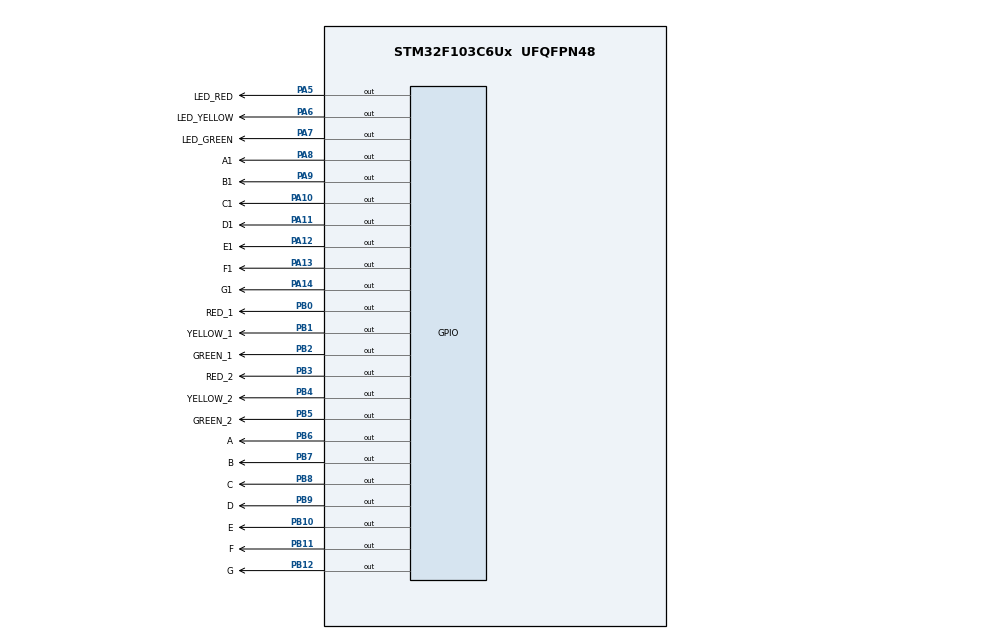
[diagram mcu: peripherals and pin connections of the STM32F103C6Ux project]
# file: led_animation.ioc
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Mcu.Family=STM32F1
Mcu.Name=STM32F103C6Ux
Mcu.Package=UFQFPN48
NVIC.PriorityGroup=NVIC_PRIORITYGROUP_4
PA10.GPIO_Label=C1
PA10.Signal=GPIO_Output
PA11.GPIO_Label=D1
PA11.Signal=GPIO_Output
PA12.GPIO_Label=E1
PA12.Signal=GPIO_Output
PA13.GPIO_Label=F1
PA13.Signal=GPIO_Output
PA14.GPIO_Label=G1
PA14.Signal=GPIO_Output
PA5.GPIO_Label=LED_RED
PA5.Signal=GPIO_Output
PA6.GPIO_Label=LED_YELLOW
PA6.Signal=GPIO_Output
PA7.GPIO_Label=LED_GREEN
PA7.Signal=GPIO_Output
PA8.GPIO_Label=A1
PA8.Signal=GPIO_Output
PA9.GPIO_Label=B1
PA9.Signal=GPIO_Output
PB0.GPIO_Label=RED_1
PB0.Signal=GPIO_Output
PB1.GPIO_Label=YELLOW_1
PB1.Signal=GPIO_Output
PB10.GPIO_Label=E
PB10.Signal=GPIO_Output
PB11.GPIO_Label=F
PB11.Signal=GPIO_Output
PB12.GPIO_Label=G
PB12.Signal=GPIO_Output
PB2.GPIO_Label=GREEN_1
PB2.Signal=GPIO_Output
PB3.GPIO_Label=RED_2
PB3.Signal=GPIO_Output
PB4.GPIO_Label=YELLOW_2
PB4.Signal=GPIO_Output
PB5.GPIO_Label=GREEN_2
PB5.Signal=GPIO_Output
PB6.GPIO_Label=A
PB6.Signal=GPIO_Output
PB7.GPIO_Label=B
PB7.Signal=GPIO_Output
PB8.GPIO_Label=C
PB8.Signal=GPIO_Output
PB9.GPIO_Label=D
PB9.Signal=GPIO_Output
ProjectManager.HeapSize=0x200
ProjectManager.StackSize=0x400
ProjectManager.TargetToolchain=STM32CubeIDE
RCC.APB1Freq_Value=8000000
RCC.APB2Freq_Value=8000000
VP_SYS_VS_ND.Mode=No_Debug
board=custom

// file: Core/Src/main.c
/* USER CODE BEGIN Header */
/**
  ******************************************************************************
  * @file           : main.c
  * @brief          : Main program body
  ******************************************************************************
  * @attention
  *
  * <h2><center>&copy; Copyright (c) 2022 STMicroelectronics.
  * All rights reserved.</center></h2>
  *
  * This software component is licensed by ST under BSD 3-Clause license,
  * the "License"; You may not use this file except in compliance with the
  * License. You may obtain a copy of the License at:
  *                        opensource.org/licenses/BSD-3-Clause
  *
  ******************************************************************************
  */
/* USER CODE END Header */
#include "main.h"

void SystemClock_Config(void);
static void MX_GPIO_Init(void);
/* USER CODE BEGIN PFP */
void display7SEG(int num);
void display7SEG_1(int num);
/* USER CODE END PFP */

int main(void)
{

  /* MCU Configuration--------------------------------------------------------*/

  /* Reset of all peripherals, Initializes the Flash interface and the Systick. */
  HAL_Init();

  /* Configure the system clock */
  SystemClock_Config();

  /* Initialize all configured peripherals */
  MX_GPIO_Init();

  /* Infinite loop */
  /* USER CODE BEGIN WHILE */
  int count = 0;
  int state = 0;
  int counter = 0;
  while (1)
  {
	  //ex1
	  count++;
	  if(count >= 2 ){
		  HAL_GPIO_WritePin ( LED_RED_GPIO_Port , LED_RED_Pin , GPIO_PIN_SET ) ;
		  HAL_GPIO_WritePin ( LED_YELLOW_GPIO_Port , LED_YELLOW_Pin , GPIO_PIN_RESET ) ;
		  count = -1;
	  }
	  else if(count <= 0){
		  HAL_GPIO_WritePin ( LED_RED_GPIO_Port , LED_RED_Pin , GPIO_PIN_RESET ) ;
		  HAL_GPIO_WritePin ( LED_YELLOW_GPIO_Port , LED_YELLOW_Pin , GPIO_PIN_SET ) ;
	  }

	  HAL_Delay (1000);
	  //ex2
	  /*count++;
	  if(state == 0){
		  HAL_GPIO_WritePin ( LED_RED_GPIO_Port , LED_RED_Pin , GPIO_PIN_RESET ) ;
		  HAL_GPIO_WritePin ( LED_YELLOW_GPIO_Port , LED_YELLOW_Pin , GPIO_PIN_SET ) ;
		  HAL_GPIO_WritePin ( LED_GREEN_GPIO_Port , LED_GREEN_Pin , GPIO_PIN_SET ) ;
		  if(count >= 5){
			  count = 0;
			  state = 1;
		  }
	  }
	  else if(state == 1){
		  HAL_GPIO_WritePin ( LED_RED_GPIO_Port , LED_RED_Pin , GPIO_PIN_SET ) ;
		  HAL_GPIO_WritePin ( LED_YELLOW_GPIO_Port , LED_YELLOW_Pin , GPIO_PIN_RESET ) ;
		  HAL_GPIO_WritePin ( LED_GREEN_GPIO_Port , LED_GREEN_Pin , GPIO_PIN_SET );
		  if(count >= 2){
			  count = 0;
			  state = 2;
		  }
	  }
	  else if(state == 2){
		  HAL_GPIO_WritePin ( LED_RED_GPIO_Port , LED_RED_Pin , GPIO_PIN_SET ) ;
		  HAL_GPIO_WritePin ( LED_YELLOW_GPIO_Port , LED_YELLOW_Pin , GPIO_PIN_SET ) ;
		  HAL_GPIO_WritePin ( LED_GREEN_GPIO_Port , LED_GREEN_Pin , GPIO_PIN_RESET ) ;
		  if(count >= 3){
			  count = 0;
			  state = 0;
		  }
	  }

	  HAL_Delay (1000);*/
	  //ex3 & 5
	  /*count++;
	  if(count <= 5){
		  display7SEG(5-count);
		  HAL_GPIO_WritePin ( RED_1_GPIO_Port , RED_1_Pin , GPIO_PIN_SET ) ;
		  HAL_GPIO_WritePin ( YELLOW_1_GPIO_Port , YELLOW_1_Pin , GPIO_PIN_RESET ) ;
		  HAL_GPIO_WritePin ( GREEN_1_GPIO_Port , GREEN_1_Pin , GPIO_PIN_RESET ) ;
		  if(count <= 2){
			  display7SEG_1(2-count);
			  HAL_GPIO_WritePin ( RED_2_GPIO_Port , RED_2_Pin , GPIO_PIN_RESET ) ;
			  HAL_GPIO_WritePin ( YELLOW_2_GPIO_Port , YELLOW_2_Pin , GPIO_PIN_SET ) ;
			  HAL_GPIO_WritePin ( GREEN_2_GPIO_Port , GREEN_2_Pin , GPIO_PIN_RESET ) ;
		  }
		  else{
			  display7SEG_1(5-count);
			  HAL_GPIO_WritePin ( RED_2_GPIO_Port , RED_2_Pin , GPIO_PIN_RESET ) ;
			  HAL_GPIO_WritePin ( YELLOW_2_GPIO_Port , YELLOW_2_Pin , GPIO_PIN_RESET ) ;
			  HAL_GPIO_WritePin ( GREEN_2_GPIO_Port , GREEN_2_Pin , GPIO_PIN_SET ) ;
		  }
	  }
	  else if(count <= 7){
		  display7SEG(7-count);
		  HAL_GPIO_WritePin ( RED_1_GPIO_Port , RED_1_Pin , GPIO_PIN_RESET ) ;
		  HAL_GPIO_WritePin ( YELLOW_1_GPIO_Port , YELLOW_1_Pin , GPIO_PIN_SET ) ;
		  HAL_GPIO_WritePin ( GREEN_1_GPIO_Port , GREEN_1_Pin , GPIO_PIN_RESET ) ;

		  display7SEG_1(10-count);
		  HAL_GPIO_WritePin ( RED_2_GPIO_Port , RED_2_Pin , GPIO_PIN_SET ) ;
		  HAL_GPIO_WritePin ( YELLOW_2_GPIO_Port , YELLOW_2_Pin , GPIO_PIN_RESET ) ;
		  HAL_GPIO_WritePin ( GREEN_2_GPIO_Port , GREEN_2_Pin , GPIO_PIN_RESET ) ;
	  }
	  else if(count <= 10){
		  display7SEG(10-count);
		  HAL_GPIO_WritePin ( RED_1_GPIO_Port , RED_1_Pin , GPIO_PIN_RESET ) ;
		  HAL_GPIO_WritePin ( YELLOW_1_GPIO_Port , YELLOW_1_Pin , GPIO_PIN_RESET ) ;
		  HAL_GPIO_WritePin ( GREEN_1_GPIO_Port , GREEN_1_Pin , GPIO_PIN_SET ) ;
		  display7SEG_1(10-count);
	  }
	  if(count >= 10) count = 0;

	  HAL_Delay (1000);*/
	  //ex4
	  /*if( counter >= 10) counter = 0;
	  display7SEG ( counter ++) ;
	  HAL_Delay (1000) ;*/
    /* USER CODE END WHILE */

  }
}

void SystemClock_Config(void)
{
  RCC_OscInitTypeDef RCC_OscInitStruct = {0};
  RCC_ClkInitTypeDef RCC_ClkInitStruct = {0};

  /** Initializes the RCC Oscillators according to the specified parameters
  * in the RCC_OscInitTypeDef structure.
  */
  RCC_OscInitStruct.OscillatorType = RCC_OSCILLATORTYPE_HSI;
  RCC_OscInitStruct.HSIState = RCC_HSI_ON;
  RCC_OscInitStruct.HSICalibrationValue = RCC_HSICALIBRATION_DEFAULT;
  RCC_OscInitStruct.PLL.PLLState = RCC_PLL_NONE;
  if (HAL_RCC_OscConfig(&RCC_OscInitStruct) != HAL_OK)
  {
    Error_Handler();
  }
  /** Initializes the CPU, AHB and APB buses clocks
  */
  RCC_ClkInitStruct.ClockType = RCC_CLOCKTYPE_HCLK|RCC_CLOCKTYPE_SYSCLK
                              |RCC_CLOCKTYPE_PCLK1|RCC_CLOCKTYPE_PCLK2;
  RCC_ClkInitStruct.SYSCLKSource = RCC_SYSCLKSOURCE_HSI;
  RCC_ClkInitStruct.AHBCLKDivider = RCC_SYSCLK_DIV1;
  RCC_ClkInitStruct.APB1CLKDivider = RCC_HCLK_DIV1;
  RCC_ClkInitStruct.APB2CLKDivider = RCC_HCLK_DIV1;

  if (HAL_RCC_ClockConfig(&RCC_ClkInitStruct, FLASH_LATENCY_0) != HAL_OK)
  {
    Error_Handler();
  }
}

static void MX_GPIO_Init(void)
{
  GPIO_InitTypeDef GPIO_InitStruct = {0};

  /* GPIO Ports Clock Enable */
  __HAL_RCC_GPIOA_CLK_ENABLE();
  __HAL_RCC_GPIOB_CLK_ENABLE();

  /*Configure GPIO pin Output Level */
  HAL_GPIO_WritePin(GPIOA, LED_RED_Pin|LED_YELLOW_Pin|LED_GREEN_Pin|A1_Pin
                          |B1_Pin|C1_Pin|D1_Pin|E1_Pin
                          |F1_Pin|G1_Pin, GPIO_PIN_RESET);

  /*Configure GPIO pin Output Level */
  HAL_GPIO_WritePin(GPIOB, RED_1_Pin|YELLOW_1_Pin|GREEN_1_Pin|E_Pin
                          |F_Pin|G_Pin|RED_2_Pin|YELLOW_2_Pin
                          |GREEN_2_Pin|A_Pin|B_Pin|C_Pin
                          |D_Pin, GPIO_PIN_RESET);

  /*Configure GPIO pins : LED_RED_Pin LED_YELLOW_Pin LED_GREEN_Pin A1_Pin
                           B1_Pin C1_Pin D1_Pin E1_Pin
                           F1_Pin G1_Pin */
  GPIO_InitStruct.Pin = LED_RED_Pin|LED_YELLOW_Pin|LED_GREEN_Pin|A1_Pin
                          |B1_Pin|C1_Pin|D1_Pin|E1_Pin
                          |F1_Pin|G1_Pin;
  GPIO_InitStruct.Mode = GPIO_MODE_OUTPUT_PP;
  GPIO_InitStruct.Pull = GPIO_NOPULL;
  GPIO_InitStruct.Speed = GPIO_SPEED_FREQ_LOW;
  HAL_GPIO_Init(GPIOA, &GPIO_InitStruct);

  /*Configure GPIO pins : RED_1_Pin YELLOW_1_Pin GREEN_1_Pin E_Pin
                           F_Pin G_Pin RED_2_Pin YELLOW_2_Pin
                           GREEN_2_Pin A_Pin B_Pin C_Pin
                           D_Pin */
  GPIO_InitStruct.Pin = RED_1_Pin|YELLOW_1_Pin|GREEN_1_Pin|E_Pin
                          |F_Pin|G_Pin|RED_2_Pin|YELLOW_2_Pin
                          |GREEN_2_Pin|A_Pin|B_Pin|C_Pin
                          |D_Pin;
  GPIO_InitStruct.Mode = GPIO_MODE_OUTPUT_PP;
  GPIO_InitStruct.Pull = GPIO_NOPULL;
  GPIO_InitStruct.Speed = GPIO_SPEED_FREQ_LOW;
  HAL_GPIO_Init(GPIOB, &GPIO_InitStruct);

}

/* USER CODE BEGIN 4 */
void display7SEG(int num){
	switch(num){
	case 0:
		HAL_GPIO_WritePin ( A_GPIO_Port , A_Pin , GPIO_PIN_RESET ) ;
		HAL_GPIO_WritePin ( B_GPIO_Port , B_Pin , GPIO_PIN_RESET ) ;
		HAL_GPIO_WritePin ( C_GPIO_Port , C_Pin , GPIO_PIN_RESET ) ;
		HAL_GPIO_WritePin ( D_GPIO_Port , D_Pin , GPIO_PIN_RESET ) ;
		HAL_GPIO_WritePin ( E_GPIO_Port , E_Pin , GPIO_PIN_RESET ) ;
		HAL_GPIO_WritePin ( F_GPIO_Port , F_Pin , GPIO_PIN_RESET ) ;
		HAL_GPIO_WritePin ( G_GPIO_Port , G_Pin , GPIO_PIN_SET ) ;
		break;
	case 1:
		HAL_GPIO_WritePin ( A_GPIO_Port , A_Pin , GPIO_PIN_SET ) ;
		HAL_GPIO_WritePin ( B_GPIO_Port , B_Pin , GPIO_PIN_RESET ) ;
		HAL_GPIO_WritePin ( C_GPIO_Port , C_Pin , GPIO_PIN_RESET ) ;
		HAL_GPIO_WritePin ( D_GPIO_Port , D_Pin , GPIO_PIN_SET ) ;
		HAL_GPIO_WritePin ( E_GPIO_Port , E_Pin , GPIO_PIN_SET ) ;
		HAL_GPIO_WritePin ( F_GPIO_Port , F_Pin , GPIO_PIN_SET ) ;
		HAL_GPIO_WritePin ( G_GPIO_Port , G_Pin , GPIO_PIN_SET ) ;
		break;
	case 2:
		HAL_GPIO_WritePin ( A_GPIO_Port , A_Pin , GPIO_PIN_RESET ) ;
		HAL_GPIO_WritePin ( B_GPIO_Port , B_Pin , GPIO_PIN_RESET ) ;
		HAL_GPIO_WritePin ( C_GPIO_Port , C_Pin , GPIO_PIN_SET ) ;
		HAL_GPIO_WritePin ( D_GPIO_Port , D_Pin , GPIO_PIN_RESET ) ;
		HAL_GPIO_WritePin ( E_GPIO_Port , E_Pin , GPIO_PIN_RESET ) ;
		HAL_GPIO_WritePin ( F_GPIO_Port , F_Pin , GPIO_PIN_SET ) ;
		HAL_GPIO_WritePin ( G_GPIO_Port , G_Pin , GPIO_PIN_RESET ) ;
		break;
	case 3:
		HAL_GPIO_WritePin ( A_GPIO_Port , A_Pin , GPIO_PIN_RESET ) ;
		HAL_GPIO_WritePin ( B_GPIO_Port , B_Pin , GPIO_PIN_RESET ) ;
		HAL_GPIO_WritePin ( C_GPIO_Port , C_Pin , GPIO_PIN_RESET ) ;
		HAL_GPIO_WritePin ( D_GPIO_Port , D_Pin , GPIO_PIN_RESET ) ;
		HAL_GPIO_WritePin ( E_GPIO_Port , E_Pin , GPIO_PIN_SET ) ;
		HAL_GPIO_WritePin ( F_GPIO_Port , F_Pin , GPIO_PIN_SET ) ;
		HAL_GPIO_WritePin ( G_GPIO_Port , G_Pin , GPIO_PIN_RESET ) ;
		break;
	case 4:
		HAL_GPIO_WritePin ( A_GPIO_Port , A_Pin , GPIO_PIN_SET ) ;
		HAL_GPIO_WritePin ( B_GPIO_Port , B_Pin , GPIO_PIN_RESET ) ;
		HAL_GPIO_WritePin ( C_GPIO_Port , C_Pin , GPIO_PIN_RESET ) ;
		HAL_GPIO_WritePin ( D_GPIO_Port , D_Pin , GPIO_PIN_SET ) ;
		HAL_GPIO_WritePin ( E_GPIO_Port , E_Pin , GPIO_PIN_SET ) ;
		HAL_GPIO_WritePin ( F_GPIO_Port , F_Pin , GPIO_PIN_RESET ) ;
		HAL_GPIO_WritePin ( G_GPIO_Port , G_Pin , GPIO_PIN_RESET ) ;
		break;
	case 5:
		HAL_GPIO_WritePin ( A_GPIO_Port , A_Pin , GPIO_PIN_RESET ) ;
		HAL_GPIO_WritePin ( B_GPIO_Port , B_Pin , GPIO_PIN_SET ) ;
		HAL_GPIO_WritePin ( C_GPIO_Port , C_Pin , GPIO_PIN_RESET ) ;
		HAL_GPIO_WritePin ( D_GPIO_Port , D_Pin , GPIO_PIN_RESET ) ;
		HAL_GPIO_WritePin ( E_GPIO_Port , E_Pin , GPIO_PIN_SET ) ;
		HAL_GPIO_WritePin ( F_GPIO_Port , F_Pin , GPIO_PIN_RESET ) ;
		HAL_GPIO_WritePin ( G_GPIO_Port , G_Pin , GPIO_PIN_RESET ) ;
		break;
	case 6:
		HAL_GPIO_WritePin ( A_GPIO_Port , A_Pin , GPIO_PIN_RESET ) ;
		HAL_GPIO_WritePin ( B_GPIO_Port , B_Pin , GPIO_PIN_SET ) ;
		HAL_GPIO_WritePin ( C_GPIO_Port , C_Pin , GPIO_PIN_RESET ) ;
		HAL_GPIO_WritePin ( D_GPIO_Port , D_Pin , GPIO_PIN_RESET ) ;
		HAL_GPIO_WritePin ( E_GPIO_Port , E_Pin , GPIO_PIN_RESET ) ;
		HAL_GPIO_WritePin ( F_GPIO_Port , F_Pin , GPIO_PIN_RESET ) ;
		HAL_GPIO_WritePin ( G_GPIO_Port , G_Pin , GPIO_PIN_RESET ) ;
		break;
	case 7:
		HAL_GPIO_WritePin ( A_GPIO_Port , A_Pin , GPIO_PIN_RESET ) ;
		HAL_GPIO_WritePin ( B_GPIO_Port , B_Pin , GPIO_PIN_RESET ) ;
		HAL_GPIO_WritePin ( C_GPIO_Port , C_Pin , GPIO_PIN_RESET ) ;
		HAL_GPIO_WritePin ( D_GPIO_Port , D_Pin , GPIO_PIN_SET ) ;
		HAL_GPIO_WritePin ( E_GPIO_Port , E_Pin , GPIO_PIN_SET ) ;
		HAL_GPIO_WritePin ( F_GPIO_Port , F_Pin , GPIO_PIN_SET ) ;
		HAL_GPIO_WritePin ( G_GPIO_Port , G_Pin , GPIO_PIN_SET ) ;
		break;
	case 8:
		HAL_GPIO_WritePin ( A_GPIO_Port , A_Pin , GPIO_PIN_RESET ) ;
		HAL_GPIO_WritePin ( B_GPIO_Port , B_Pin , GPIO_PIN_RESET ) ;
		HAL_GPIO_WritePin ( C_GPIO_Port , C_Pin , GPIO_PIN_RESET ) ;
		HAL_GPIO_WritePin ( D_GPIO_Port , D_Pin , GPIO_PIN_RESET ) ;
		HAL_GPIO_WritePin ( E_GPIO_Port , E_Pin , GPIO_PIN_RESET ) ;
		HAL_GPIO_WritePin ( F_GPIO_Port , F_Pin , GPIO_PIN_RESET ) ;
		HAL_GPIO_WritePin ( G_GPIO_Port , G_Pin , GPIO_PIN_RESET ) ;
		break;
	case 9:
		HAL_GPIO_WritePin ( A_GPIO_Port , A_Pin , GPIO_PIN_RESET ) ;
		HAL_GPIO_WritePin ( B_GPIO_Port , B_Pin , GPIO_PIN_RESET ) ;
		HAL_GPIO_WritePin ( C_GPIO_Port , C_Pin , GPIO_PIN_RESET ) ;
		HAL_GPIO_WritePin ( D_GPIO_Port , D_Pin , GPIO_PIN_RESET ) ;
		HAL_GPIO_WritePin ( E_GPIO_Port , E_Pin , GPIO_PIN_SET ) ;
		HAL_GPIO_WritePin ( F_GPIO_Port , F_Pin , GPIO_PIN_RESET ) ;
		HAL_GPIO_WritePin ( G_GPIO_Port , G_Pin , GPIO_PIN_RESET ) ;
		break;
	default:
		HAL_GPIO_WritePin ( A_GPIO_Port , A_Pin , GPIO_PIN_RESET ) ;
		HAL_GPIO_WritePin ( B_GPIO_Port , B_Pin , GPIO_PIN_RESET ) ;
		HAL_GPIO_WritePin ( C_GPIO_Port , C_Pin , GPIO_PIN_RESET ) ;
		HAL_GPIO_WritePin ( D_GPIO_Port , D_Pin , GPIO_PIN_RESET ) ;
		HAL_GPIO_WritePin ( E_GPIO_Port , E_Pin , GPIO_PIN_RESET ) ;
		HAL_GPIO_WritePin ( F_GPIO_Port , F_Pin , GPIO_PIN_RESET ) ;
		HAL_GPIO_WritePin ( G_GPIO_Port , G_Pin , GPIO_PIN_RESET ) ;

	}
}
void display7SEG_1(int num){
	switch(num){
	case 0:
		HAL_GPIO_WritePin ( A1_GPIO_Port , A1_Pin , GPIO_PIN_RESET ) ;
		HAL_GPIO_WritePin ( B1_GPIO_Port , B1_Pin , GPIO_PIN_RESET ) ;
		HAL_GPIO_WritePin ( C1_GPIO_Port , C1_Pin , GPIO_PIN_RESET ) ;
		HAL_GPIO_WritePin ( D1_GPIO_Port , D1_Pin , GPIO_PIN_RESET ) ;
		HAL_GPIO_WritePin ( E1_GPIO_Port , E1_Pin , GPIO_PIN_RESET ) ;
		HAL_GPIO_WritePin ( F1_GPIO_Port , F1_Pin , GPIO_PIN_RESET ) ;
		HAL_GPIO_WritePin ( G1_GPIO_Port , G1_Pin , GPIO_PIN_SET ) ;
		break;
	case 1:
		HAL_GPIO_WritePin ( A1_GPIO_Port , A1_Pin , GPIO_PIN_SET ) ;
		HAL_GPIO_WritePin ( B1_GPIO_Port , B1_Pin , GPIO_PIN_RESET ) ;
		HAL_GPIO_WritePin ( C1_GPIO_Port , C1_Pin , GPIO_PIN_RESET ) ;
		HAL_GPIO_WritePin ( D1_GPIO_Port , D1_Pin , GPIO_PIN_SET ) ;
		HAL_GPIO_WritePin ( E1_GPIO_Port , E1_Pin , GPIO_PIN_SET ) ;
		HAL_GPIO_WritePin ( F1_GPIO_Port , F1_Pin , GPIO_PIN_SET ) ;
		HAL_GPIO_WritePin ( G1_GPIO_Port , G1_Pin , GPIO_PIN_SET ) ;
		break;
	case 2:
		HAL_GPIO_WritePin ( A1_GPIO_Port , A1_Pin , GPIO_PIN_RESET ) ;
		HAL_GPIO_WritePin ( B1_GPIO_Port , B1_Pin , GPIO_PIN_RESET ) ;
		HAL_GPIO_WritePin ( C1_GPIO_Port , C1_Pin , GPIO_PIN_SET ) ;
		HAL_GPIO_WritePin ( D1_GPIO_Port , D1_Pin , GPIO_PIN_RESET ) ;
		HAL_GPIO_WritePin ( E1_GPIO_Port , E1_Pin , GPIO_PIN_RESET ) ;
		HAL_GPIO_WritePin ( F1_GPIO_Port , F1_Pin , GPIO_PIN_SET ) ;
		HAL_GPIO_WritePin ( G1_GPIO_Port , G1_Pin , GPIO_PIN_RESET ) ;
		break;
	case 3:
		HAL_GPIO_WritePin ( A1_GPIO_Port , A1_Pin , GPIO_PIN_RESET ) ;
		HAL_GPIO_WritePin ( B1_GPIO_Port , B1_Pin , GPIO_PIN_RESET ) ;
		HAL_GPIO_WritePin ( C1_GPIO_Port , C1_Pin , GPIO_PIN_RESET ) ;
		HAL_GPIO_WritePin ( D1_GPIO_Port , D1_Pin , GPIO_PIN_RESET ) ;
		HAL_GPIO_WritePin ( E1_GPIO_Port , E1_Pin , GPIO_PIN_SET ) ;
		HAL_GPIO_WritePin ( F1_GPIO_Port , F1_Pin , GPIO_PIN_SET ) ;
		HAL_GPIO_WritePin ( G1_GPIO_Port , G1_Pin , GPIO_PIN_RESET ) ;
		break;
	case 4:
		HAL_GPIO_WritePin ( A1_GPIO_Port , A1_Pin , GPIO_PIN_SET ) ;
		HAL_GPIO_WritePin ( B1_GPIO_Port , B1_Pin , GPIO_PIN_RESET ) ;
		HAL_GPIO_WritePin ( C1_GPIO_Port , C1_Pin , GPIO_PIN_RESET ) ;
		HAL_GPIO_WritePin ( D1_GPIO_Port , D1_Pin , GPIO_PIN_SET ) ;
		HAL_GPIO_WritePin ( E1_GPIO_Port , E1_Pin , GPIO_PIN_SET ) ;
		HAL_GPIO_WritePin ( F1_GPIO_Port , F1_Pin , GPIO_PIN_RESET ) ;
		HAL_GPIO_WritePin ( G1_GPIO_Port , G1_Pin , GPIO_PIN_RESET ) ;
		break;
	case 5:
		HAL_GPIO_WritePin ( A1_GPIO_Port , A1_Pin , GPIO_PIN_RESET ) ;
		HAL_GPIO_WritePin ( B1_GPIO_Port , B1_Pin , GPIO_PIN_SET ) ;
		HAL_GPIO_WritePin ( C1_GPIO_Port , C1_Pin , GPIO_PIN_RESET ) ;
		HAL_GPIO_WritePin ( D1_GPIO_Port , D1_Pin , GPIO_PIN_RESET ) ;
		HAL_GPIO_WritePin ( E1_GPIO_Port , E1_Pin , GPIO_PIN_SET ) ;
		HAL_GPIO_WritePin ( F1_GPIO_Port , F1_Pin , GPIO_PIN_RESET ) ;
		HAL_GPIO_WritePin ( G1_GPIO_Port , G1_Pin , GPIO_PIN_RESET ) ;
		break;
	case 6:
		HAL_GPIO_WritePin ( A1_GPIO_Port , A1_Pin , GPIO_PIN_RESET ) ;
		HAL_GPIO_WritePin ( B1_GPIO_Port , B1_Pin , GPIO_PIN_SET ) ;
		HAL_GPIO_WritePin ( C1_GPIO_Port , C1_Pin , GPIO_PIN_RESET ) ;
		HAL_GPIO_WritePin ( D1_GPIO_Port , D1_Pin , GPIO_PIN_RESET ) ;
		HAL_GPIO_WritePin ( E1_GPIO_Port , E1_Pin , GPIO_PIN_RESET ) ;
		HAL_GPIO_WritePin ( F1_GPIO_Port , F1_Pin , GPIO_PIN_RESET ) ;
		HAL_GPIO_WritePin ( G1_GPIO_Port , G1_Pin , GPIO_PIN_RESET ) ;
		break;
	case 7:
		HAL_GPIO_WritePin ( A1_GPIO_Port , A1_Pin , GPIO_PIN_RESET ) ;
		HAL_GPIO_WritePin ( B1_GPIO_Port , B1_Pin , GPIO_PIN_RESET ) ;
		HAL_GPIO_WritePin ( C1_GPIO_Port , C1_Pin , GPIO_PIN_RESET ) ;
		HAL_GPIO_WritePin ( D1_GPIO_Port , D1_Pin , GPIO_PIN_SET ) ;
		HAL_GPIO_WritePin ( E1_GPIO_Port , E1_Pin , GPIO_PIN_SET ) ;
		HAL_GPIO_WritePin ( F1_GPIO_Port , F1_Pin , GPIO_PIN_SET ) ;
		HAL_GPIO_WritePin ( G1_GPIO_Port , G1_Pin , GPIO_PIN_SET ) ;
		break;
	case 8:
		HAL_GPIO_WritePin ( A1_GPIO_Port , A1_Pin , GPIO_PIN_RESET ) ;
		HAL_GPIO_WritePin ( B1_GPIO_Port , B1_Pin , GPIO_PIN_RESET ) ;
		HAL_GPIO_WritePin ( C1_GPIO_Port , C1_Pin , GPIO_PIN_RESET ) ;
		HAL_GPIO_WritePin ( D1_GPIO_Port , D1_Pin , GPIO_PIN_RESET ) ;
		HAL_GPIO_WritePin ( E1_GPIO_Port , E1_Pin , GPIO_PIN_RESET ) ;
		HAL_GPIO_WritePin ( F1_GPIO_Port , F1_Pin , GPIO_PIN_RESET ) ;
		HAL_GPIO_WritePin ( G1_GPIO_Port , G1_Pin , GPIO_PIN_RESET ) ;
		break;
	case 9:
		HAL_GPIO_WritePin ( A1_GPIO_Port , A1_Pin , GPIO_PIN_RESET ) ;
		HAL_GPIO_WritePin ( B1_GPIO_Port , B1_Pin , GPIO_PIN_RESET ) ;
		HAL_GPIO_WritePin ( C1_GPIO_Port , C1_Pin , GPIO_PIN_RESET ) ;
		HAL_GPIO_WritePin ( D1_GPIO_Port , D1_Pin , GPIO_PIN_RESET ) ;
		HAL_GPIO_WritePin ( E1_GPIO_Port , E1_Pin , GPIO_PIN_SET ) ;
		HAL_GPIO_WritePin ( F1_GPIO_Port , F1_Pin , GPIO_PIN_RESET ) ;
		HAL_GPIO_WritePin ( G1_GPIO_Port , G1_Pin , GPIO_PIN_RESET ) ;
		break;
	default:
		HAL_GPIO_WritePin ( A1_GPIO_Port , A1_Pin , GPIO_PIN_RESET ) ;
		HAL_GPIO_WritePin ( B1_GPIO_Port , B1_Pin , GPIO_PIN_RESET ) ;
		HAL_GPIO_WritePin ( C1_GPIO_Port , C1_Pin , GPIO_PIN_RESET ) ;
		HAL_GPIO_WritePin ( D1_GPIO_Port , D1_Pin , GPIO_PIN_RESET ) ;
		HAL_GPIO_WritePin ( E1_GPIO_Port , E1_Pin , GPIO_PIN_RESET ) ;
		HAL_GPIO_WritePin ( F1_GPIO_Port , F1_Pin , GPIO_PIN_RESET ) ;
		HAL_GPIO_WritePin ( G1_GPIO_Port , G1_Pin , GPIO_PIN_RESET ) ;

	}
}
/* USER CODE END 4 */

void Error_Handler(void)
{
  __disable_irq();
  while (1)
  {
  }
}

/************************ (C) COPYRIGHT STMicroelectronics *****END OF FILE****/
